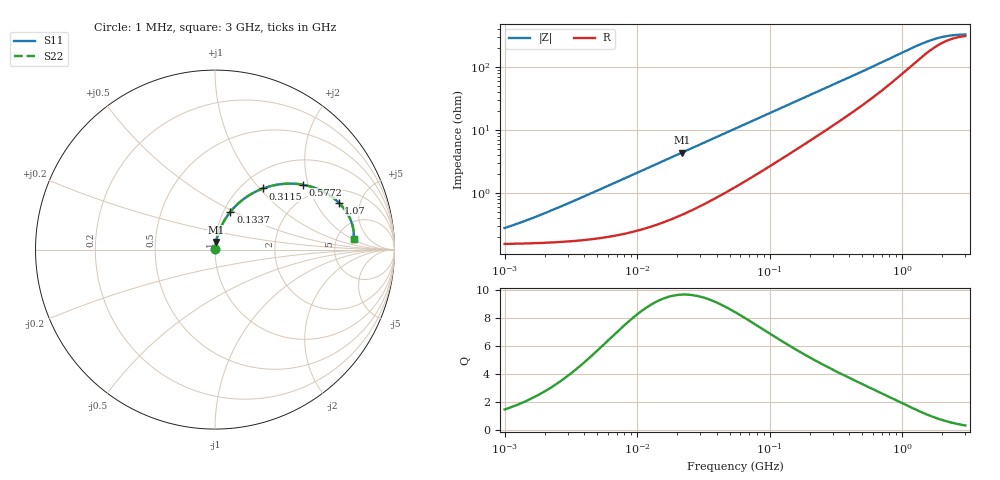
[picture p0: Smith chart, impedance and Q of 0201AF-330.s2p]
# MHz  S  MA  R  50
!Freq  MagS11  AngS11  MagS21  AngS21  MagS12  AngS12  MagS22  AngS22
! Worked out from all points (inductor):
!   806 points, 1 MHz to 3 GHz, reference 50 ohm
!   read as one part in series: L = 34.9 nH near 2.195 MHz
!   highest Q = 9.69 at 21.86 MHz (marker M1), where L = 31.6 nH
!   S11 on the Smith chart (normalised r, x): 1 MHz: 1.00, +0.00; 133.7 MHz: 1.08, +0.48; 311.5 MHz: 1.25, +1.05; 577.2 MHz: 1.61, +1.86; 1.07 GHz: 2.76, +3.17; 3 GHz: 7.21, +2.16
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1  0.002754 56.0  0.9985 -0.1  0.9985 -0.1  0.002754 56.0
1.232392  0.003193 60.8  0.9984 -0.2  0.9984 -0.2  0.003193 60.8
1.71141  0.004137 67.3  0.9984 -0.2  0.9984 -0.2  0.004137 67.3
3.831647  0.008444 77.5  0.9982 -0.5  0.9982 -0.5  0.008444 77.5
14.53616  0.02954 82.2  0.9964 -1.7  0.9964 -1.7  0.02954 82.2
21.85878  0.04341 81.6  0.9946 -2.5  0.9946 -2.5  0.04341 81.6
35.5937  0.0686 80.0  0.9904 -3.9  0.9904 -3.9  0.0686 80.0
55.14595  0.103 77.4  0.9826 -5.9  0.9826 -5.9  0.103 77.4
89.79682  0.1603 72.9  0.9652 -9.1  0.9652 -9.1  0.1603 72.9
133.6952  0.2269 67.9  0.9383 -12.9  0.9383 -12.9  0.2269 67.9
168.0767  0.2745 64.2  0.9147 -15.7  0.9147 -15.7  0.2745 64.2
209.2077  0.3264 60.2  0.8846 -18.7  0.8846 -18.7  0.3264 60.2
255.2732  0.3785 56.2  0.8498 -21.7  0.8498 -21.7  0.3785 56.2
311.4818  0.4342 51.8  0.8069 -25.0  0.8069 -25.0  0.4342 51.8
428.269  0.5266 44.0  0.721 -30.5  0.721 -30.5  0.5266 44.0
577.2419  0.6097 36.3  0.6238 -35.4  0.6238 -35.4  0.6097 36.3
793.6734  0.6854 28.1  0.5103 -39.2  0.5103 -39.2  0.6854 28.1
1069.752  0.7372 20.8  0.4067 -40.1  0.4067 -40.1  0.7372 20.8
1413.453  0.7661 14.8  0.3251 -37.1  0.3251 -37.1  0.7661 14.8
1886.259  0.778 9.7  0.2678 -29.5  0.2678 -29.5  0.778 9.7
2347.857  0.7784 6.8  0.2451 -22.1  0.2451 -22.1  0.7784 6.8
3000  0.7744 4.4  0.2356 -14.7  0.2356 -14.7  0.7744 4.4
